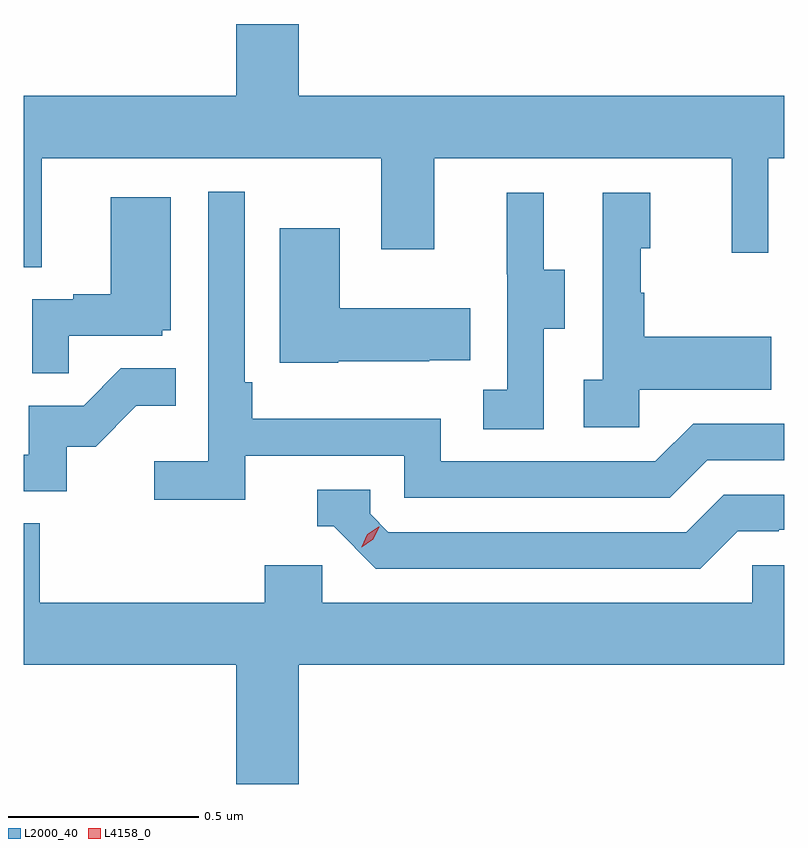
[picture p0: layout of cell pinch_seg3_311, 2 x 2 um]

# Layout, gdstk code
import gdstk
lib = gdstk.Library(unit=1e-6, precision=1e-09)
def P(c, l, *ps):  # polygons
    for p in ps: c.add(gdstk.Polygon(p, *l))
L2000_40 = (2000, 40)
L4158_0 = (4158, 0)

pinch_seg3_311 = lib.new_cell('pinch_seg3_311')
P(pinch_seg3_311, L2000_40, [(967.693,712.904),(968.585,712.904),(968.585,712.665),(968.725,712.665),(968.725,712.904),(969.506,712.904),(969.506,712.656),(969.603,712.656),(969.603,712.904),(969.645,712.904),(969.645,713.068),(968.368,713.068),(968.368,713.257),(968.204,713.257),(968.204,713.068),(967.645,713.068),(967.645,712.618),(967.693,712.618)],
  [(968.228,712.122),(968.646,712.122),(968.646,712.011),(969.343,712.011),(969.442,712.11),(969.645,712.11),(969.645,712.206),(969.405,712.206),(969.306,712.107),(968.742,712.107),(968.742,712.219),(968.246,712.219),(968.246,712.315),(968.226,712.315),(968.226,712.816),(968.13,712.816),(968.13,712.108),(967.989,712.108),(967.989,712.006),(968.228,712.006)],
  [(969.012,712.456),(969.067,712.456),(969.067,712.611),(969.013,712.611),(969.013,712.813),(968.915,712.813),(968.915,712.599),(968.916,712.599),(968.916,712.295),(968.853,712.295),(968.853,712.192),(969.012,712.192)],
  [(969.264,712.295),(969.611,712.295),(969.611,712.435),(969.277,712.435),(969.277,712.55),(969.267,712.55),(969.267,712.668),(969.292,712.668),(969.292,712.813),(969.168,712.813),(969.168,712.322),(969.117,712.322),(969.117,712.197),(969.264,712.197)],
  [(967.763,712.437),(968.01,712.437),(968.01,712.452),(968.032,712.452),(968.032,712.801),(967.874,712.801),(967.874,712.546),(967.775,712.546),(967.775,712.533),(967.668,712.533),(967.668,712.339),(967.763,712.339)],
  [(968.472,712.37),(968.711,712.37),(968.711,712.373),(968.819,712.373),(968.819,712.51),(968.476,712.51),(968.476,712.72),(968.318,712.72),(968.318,712.367),(968.472,712.367)],
  [(967.758,712.146),(967.834,712.146),(967.941,712.253),(968.045,712.253),(968.045,712.352),(967.901,712.352),(967.803,712.254),(967.659,712.254),(967.659,712.125),(967.645,712.125),(967.645,712.029),(967.758,712.029)],
  [(969.523,711.924),(969.63,711.924),(969.63,711.927),(969.645,711.927),(969.645,712.02),(969.486,712.02),(969.387,711.921),(968.604,711.921),(968.556,711.969),(968.556,712.032),(968.417,712.032),(968.417,711.936),(968.46,711.936),(968.571,711.825),(969.424,711.825)],
  [(968.368,711.572),(969.645,711.572),(969.645,711.834),(969.561,711.834),(969.561,711.736),(968.43,711.736),(968.43,711.834),(968.279,711.834),(968.279,711.736),(967.688,711.736),(967.688,711.944),(967.645,711.944),(967.645,711.572),(968.204,711.572),(968.204,711.259),(968.368,711.259)])
P(pinch_seg3_311, L4158_0, [(968.534,711.882),(968.534,711.883),(968.549,711.915),(968.579,711.935),(968.58,711.935),(968.58,711.935),(968.564,711.902),(968.534,711.882)])

lib.write_gds('pinch_seg3_311.gds')
